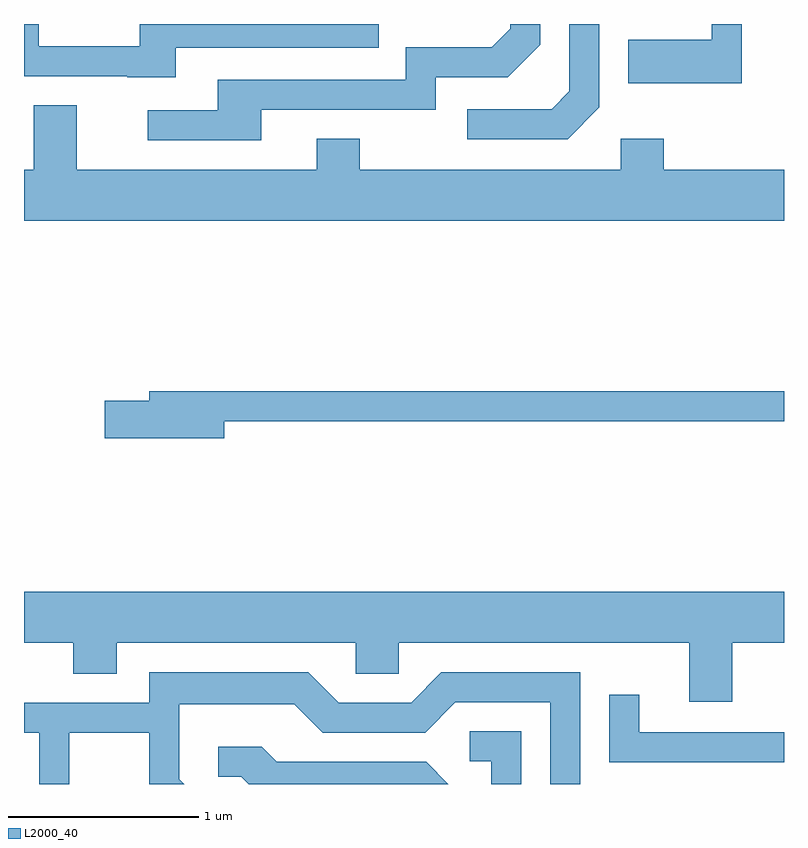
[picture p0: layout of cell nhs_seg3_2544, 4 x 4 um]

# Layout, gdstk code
import gdstk
lib = gdstk.Library(unit=1e-6, precision=1e-09)
def P(c, l, *ps):  # polygons
    for p in ps: c.add(gdstk.Polygon(p, *l))
L2000_40 = (2000, 40)

nhs_seg3_2544 = lib.new_cell('nhs_seg3_2544')
P(nhs_seg3_2544, L2000_40, [(260.859,1175.441),(261.779,1175.441),(261.779,1175.611),(262.157,1175.611),(262.329,1175.784),(262.329,1175.892),(262.171,1175.892),(262.171,1175.867),(262.074,1175.769),(261.621,1175.769),(261.621,1175.599),(260.631,1175.599),(260.631,1175.439),(260.263,1175.439),(260.263,1175.281),(260.859,1175.281)],
  [(263.389,1175.892),(263.231,1175.892),(263.231,1175.809),(262.791,1175.809),(262.791,1175.581),(263.389,1175.581)],
  [(260.409,1175.766),(261.478,1175.766),(261.478,1175.892),(260.221,1175.892),(260.221,1175.774),(259.689,1175.774),(259.689,1175.892),(259.611,1175.892),(259.611,1175.616),(260.155,1175.616),(260.155,1175.611),(260.409,1175.611)],
  [(262.639,1175.454),(262.639,1175.892),(262.481,1175.892),(262.481,1175.537),(262.389,1175.444),(261.943,1175.444),(261.943,1175.286),(262.472,1175.286)],
  [(263.611,1175.124),(262.979,1175.124),(262.979,1175.289),(262.751,1175.289),(262.751,1175.124),(261.379,1175.124),(261.379,1175.289),(261.151,1175.289),(261.151,1175.124),(259.889,1175.124),(259.889,1175.464),(259.661,1175.464),(259.661,1175.124),(259.611,1175.124),(259.611,1174.856),(263.611,1174.856)],
  [(260.664,1173.801),(263.611,1173.801),(263.611,1173.959),(260.271,1173.959),(260.271,1173.909),(260.036,1173.909),(260.036,1173.711),(260.664,1173.711)],
  [(263.339,1172.636),(263.611,1172.636),(263.611,1172.904),(259.611,1172.904),(259.611,1172.636),(259.871,1172.636),(259.871,1172.471),(260.099,1172.471),(260.099,1172.636),(261.356,1172.636),(261.356,1172.471),(261.584,1172.471),(261.584,1172.636),(263.111,1172.636),(263.111,1172.326),(263.339,1172.326)],
  [(259.849,1172.161),(260.271,1172.161),(260.271,1171.892),(260.454,1171.892),(260.429,1171.917),(260.429,1172.311),(261.034,1172.311),(261.183,1172.161),(261.722,1172.161),(261.882,1172.321),(262.381,1172.321),(262.381,1171.892),(262.539,1171.892),(262.539,1172.479),(261.808,1172.479),(261.649,1172.319),(261.267,1172.319),(261.106,1172.479),(260.271,1172.479),(260.271,1172.319),(259.611,1172.319),(259.611,1172.161),(259.691,1172.161),(259.691,1171.892),(259.849,1171.892)],
  [(263.611,1172.164),(262.849,1172.164),(262.849,1172.363),(262.691,1172.363),(262.691,1172.006),(263.611,1172.006)],
  [(262.229,1172.169),(261.957,1172.169),(261.957,1172.011),(262.071,1172.011),(262.071,1171.892),(262.229,1171.892)],
  [(261.727,1172.009),(260.942,1172.009),(260.861,1172.089),(260.633,1172.089),(260.633,1171.931),(260.754,1171.931),(260.793,1171.892),(261.844,1171.892)])

lib.write_gds('nhs_seg3_2544.gds')
